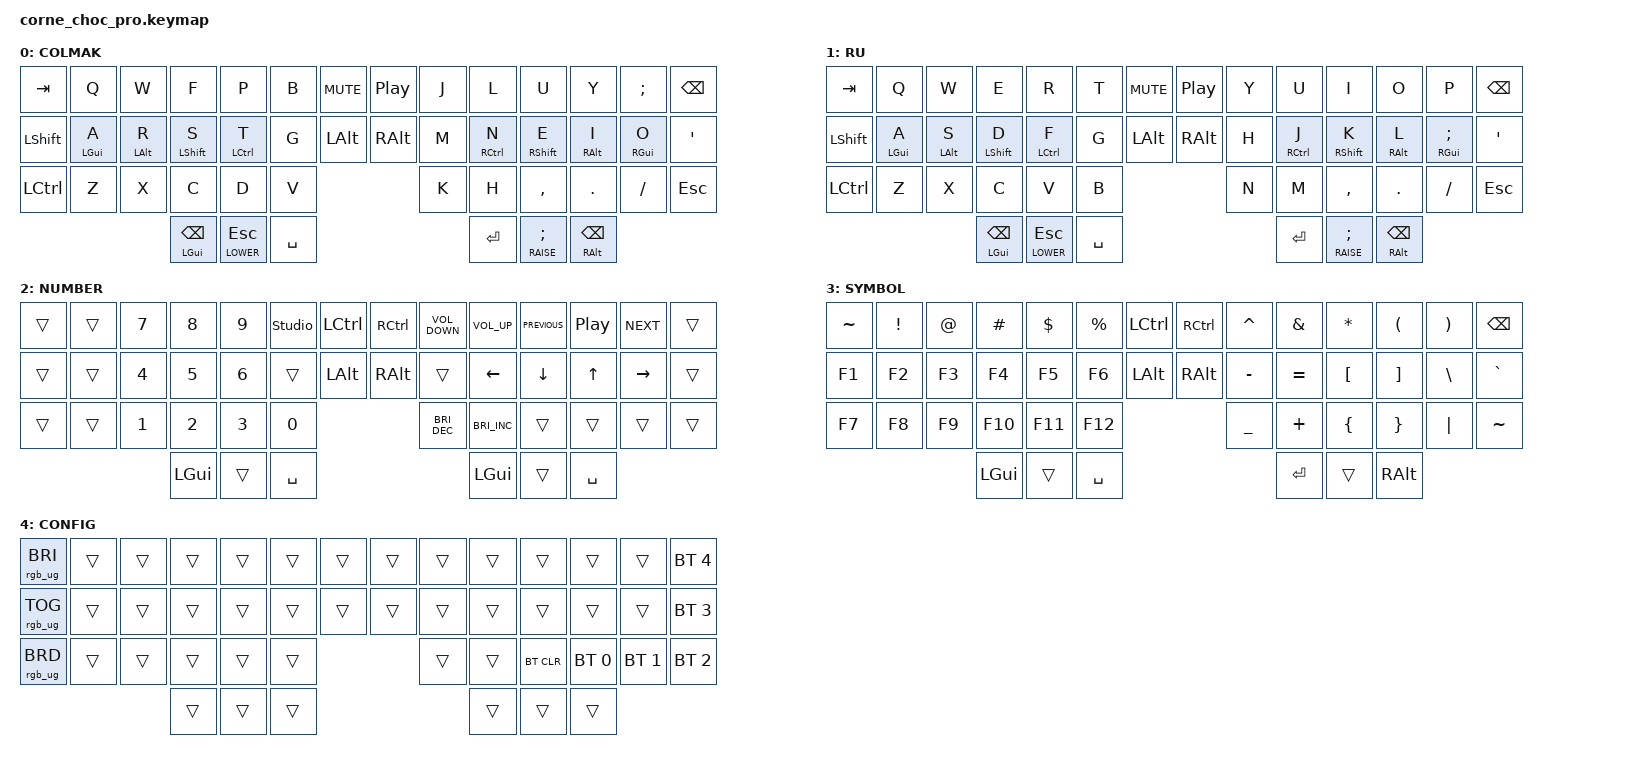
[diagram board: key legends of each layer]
/*
 * Copyright (c) 2020 The ZMK Contributors
 *
 * SPDX-License-Identifier: MIT
 */

#include <behaviors.dtsi>
#include <dt-bindings/zmk/bt.h>
#include <dt-bindings/zmk/keys.h>
#include <dt-bindings/zmk/rgb.h>

#define EN      0
#define RU      1
#define LOWER   2
#define RAISE   3
#define CONFIG  4
/* Default is Ctrl+GUI+Space; change LGUI to LALT on macOS for Ctrl+Option+Space. */
#define LANG_SWITCH_MOD LGUI

/ {
    chosen { zmk,physical-layout = &default_layout; };
};

/ {
    behaviors {
        hml: home_row_mod_left {
            compatible = "zmk,behavior-hold-tap";
            #binding-cells = <2>;
            flavor = "balanced";
            tapping-term-ms = <280>;
            quick-tap-ms = <175>;
            require-prior-idle-ms = <150>;
            bindings = <&kp>, <&kp>;
            /* Right half keys: top 7-13, home 21-27, bottom 34-39, thumbs 40-45. */
            hold-trigger-key-positions = <7 8 9 10 11 12 13 21 22 23 24 25 26 27 34 35 36 37 38 39 40 41 42 43 44 45>;
            hold-trigger-on-release;
            display-name = "Home Row Mod Left";
        };

        hmr: home_row_mod_right {
            compatible = "zmk,behavior-hold-tap";
            #binding-cells = <2>;
            flavor = "balanced";
            tapping-term-ms = <280>;
            quick-tap-ms = <175>;
            require-prior-idle-ms = <150>;
            bindings = <&kp>, <&kp>;
            /* Left half keys: top 0-6, home 14-20, bottom 28-33, thumbs 40-45. */
            hold-trigger-key-positions = <0 1 2 3 4 5 6 14 15 16 17 18 19 20 28 29 30 31 32 33 40 41 42 43 44 45>;
            hold-trigger-on-release;
            display-name = "Home Row Mod Right";
        };
    };

    macros {
        lang_toggle: lang_toggle {
            compatible = "zmk,behavior-macro";
            #binding-cells = <0>;
            /* Slightly longer timing improves host shortcut reliability for language switching. */
            wait-ms = <40>;
            tap-ms = <40>;
            bindings
                = <&macro_press &kp LCTRL &kp LANG_SWITCH_MOD>
                , <&macro_tap &kp SPACE>
                , <&macro_release &kp LCTRL &kp LANG_SWITCH_MOD>
                , <&tog RU>
                ;
        };
    };

    combos {
        compatible = "zmk,combos";

        lang_toggle_combo {
            timeout-ms = <50>;
            key-positions = <20 21>;
            layers = <EN RU>;
            bindings = <&lang_toggle>;
        };
    };

    conditional_layers {
        compatible = "zmk,conditional-layers";

        config_conditional {
            if-layers = <LOWER RAISE>;
            then-layer = <CONFIG>;
        };
    };

    keymap {
        compatible = "zmk,keymap";

        default_layer {
            display-name = "COLMAK";

            // --------------------------------------------------------------------------------
            // |  TAB |  Q  |  W  |  E  |  R  |  T  |  MUTE |  PP   |  Y  |  U   |  I  |  O  |  P  | BSPC |
            // | CTRL |  A  |  S  |  D  |  F  |  G  |  LALT |  RALT |  H  |  J   |  K  |  L  |  ;  |  '   |
            // | SHFT |  Z  |  X  |  C  |  V  |  B  |               |  N  |  M   |  ,  |  .  |  /  | ESC  |
            //                    | GUI | LWR | SPC |               | ENT | RSE  | ALT |

            bindings = <
&kp TAB           &kp Q  &kp W  &kp F               &kp P         &kp B      &kp C_MUTE  &kp C_PP  &kp J    &kp L            &kp U               &kp Y    &kp SEMI  &kp BSPC
&kp LEFT_SHIFT    &hml LGUI A  &hml LALT R  &hml LSHFT S      &hml LCTRL T  &kp G      &kp LALT    &kp RALT  &kp M    &hmr RCTRL N    &hmr RSHFT E      &hmr RALT I  &hmr RGUI O  &kp SQT
&kp LEFT_CONTROL  &kp Z  &kp X  &kp C               &kp D         &kp V                            &kp K    &kp H            &kp COMMA           &kp DOT  &kp FSLH  &kp ESC
                                &mt LGUI BACKSPACE  &lt LOWER ESCAPE  &kp SPACE                            &kp RET  &lt RAISE SEMICOLON  &mt RALT BACKSPACE
            >;
        };

        ru_layer {
            display-name = "RU";

            bindings = <
&kp TAB           &kp Q  &kp W  &kp E               &kp R         &kp T      &kp C_MUTE  &kp C_PP  &kp Y    &kp U            &kp I               &kp O    &kp P     &kp BSPC
&kp LEFT_SHIFT    &hml LGUI A  &hml LALT S  &hml LSHFT D      &hml LCTRL F  &kp G      &kp LALT    &kp RALT  &kp H    &hmr RCTRL J    &hmr RSHFT K      &hmr RALT L  &hmr RGUI SEMI  &kp SQT
&kp LEFT_CONTROL  &kp Z  &kp X  &kp C               &kp V         &kp B                            &kp N    &kp M            &kp COMMA           &kp DOT  &kp FSLH  &kp ESC
                                &mt LGUI BACKSPACE  &lt LOWER ESCAPE  &kp SPACE                            &kp RET  &lt RAISE SEMICOLON  &mt RALT BACKSPACE
            >;
        };

        lower_layer {
            display-name = "NUMBER";

            // -----------------------------------------------------------------------------------------
            // |  TAB |  1  |  2  |  3  |  4  |  5    |  LCTRL | RCTRL |  6  |  7  |  8  |  9  |  0  | BSPC |
            // | CTRL | BT1 | BT2 | BT3 | BT4 | BT5   |  LALT  | RALT  | LFT | DWN |  UP | RGT |     |      |
            // | SHFT | BTCR| RGB | RST | BOOT| Unlock|        |       |     |     |     |     |     |      |
            //                    | GUI |     | SPC   |        | ENT   |     | ALT |

            bindings = <
&trans           &trans  &kp N7  &kp N8    &kp N9  &studio_unlock  &kp LCTRL  &kp RCTRL  &kp C_VOLUME_DOWN     &kp C_VOLUME_UP       &kp C_PREVIOUS  &kp C_PLAY_PAUSE  &kp C_NEXT    &trans
&trans           &trans  &kp N4  &kp N5    &kp N6  &trans          &kp LALT   &kp RALT   &trans                &kp LEFT              &kp DOWN        &kp UP            &kp RIGHT     &trans
&trans           &trans  &kp N1  &kp N2    &kp N3  &kp N0                                &kp C_BRIGHTNESS_DEC  &kp C_BRIGHTNESS_INC  &trans          &trans            &trans        &trans
                                  &kp LGUI  &trans  &kp SPACE                             &kp LGUI              &trans                &kp SPACE
            >;
        };

        raise_layer {
            display-name = "SYMBOL";

            // -----------------------------------------------------------------------------------------
            // |  TAB |  !  |  @  |  #  |  $  |  %  | LCTRL | RCTRL |  ^  |  &  |  *  |  (  |  )  | BSPC |
            // | CTRL |     |     |     |     |     |  LALT | RALT  |  -  |  =  |  [  |  ]  |  \  |  `   |
            // | SHFT |     |     |     |     |     |               |  _  |  +  |  {  |  }  | "|" |  ~   |
            //                    | GUI |     | SPC |               | ENT |     | ALT |

            bindings = <
&kp TILDE  &kp EXCL  &kp AT  &kp HASH  &kp DLLR  &kp PRCNT  &kp LCTRL  &kp RCTRL  &kp CARET  &kp AMPS   &kp ASTRK  &kp LPAR  &kp RPAR  &kp BSPC
&kp F1     &kp F2    &kp F3  &kp F4    &kp F5    &kp F6     &kp LALT   &kp RALT   &kp MINUS  &kp EQUAL  &kp LBKT   &kp RBKT  &kp BSLH  &kp GRAVE
&kp F7     &kp F8    &kp F9  &kp F10   &kp F11   &kp F12                          &kp UNDER  &kp PLUS   &kp LBRC   &kp RBRC  &kp PIPE  &kp TILDE
                             &kp LGUI  &trans    &kp SPACE                        &kp RET    &trans     &kp RALT
            >;
        };

        config_layer {
            display-name = "CONFIG";

            bindings = <
&rgb_ug RGB_BRI  &trans  &trans  &trans  &trans  &trans  &trans  &trans  &trans  &trans  &trans  &trans  &trans  &bt BT_SEL 4
&rgb_ug RGB_TOG  &trans  &trans  &trans  &trans  &trans  &trans  &trans  &trans  &trans  &trans  &trans  &trans  &bt BT_SEL 3
&rgb_ug RGB_BRD  &trans  &trans  &trans  &trans  &trans                  &trans  &trans  &bt BT_CLR  &bt BT_SEL 0  &bt BT_SEL 1  &bt BT_SEL 2
                             &trans  &trans  &trans                        &trans  &trans     &trans
            >;
        };
    };
};
